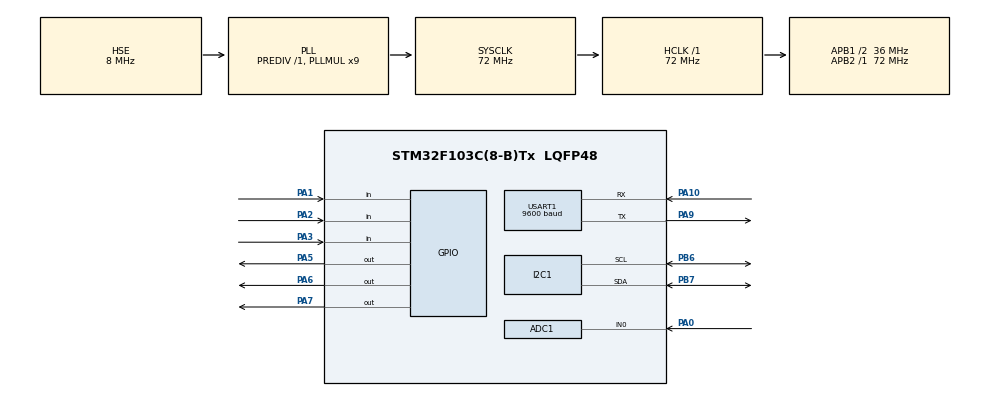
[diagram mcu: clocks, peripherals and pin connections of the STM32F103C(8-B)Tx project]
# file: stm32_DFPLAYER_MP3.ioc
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ADC1.Channel-0\#ChannelRegularConversion=ADC_CHANNEL_0
ADC1.ContinuousConvMode=ENABLE
ADC1.NbrOfConversionFlag=1
ADC1.Rank-0\#ChannelRegularConversion=1
ADC1.SamplingTime-0\#ChannelRegularConversion=ADC_SAMPLETIME_1CYCLE_5
ADC1.master=1
Mcu.Family=STM32F1
Mcu.Name=STM32F103C(8-B)Tx
Mcu.Package=LQFP48
NVIC.ADC1_2_IRQn=true\:0\:0\:false\:false\:true\:true\:true\:true
NVIC.PriorityGroup=NVIC_PRIORITYGROUP_4
PA0-WKUP.Signal=ADCx_IN0
PA1.GPIO_PuPd=GPIO_PULLDOWN
PA1.Signal=GPIO_Input
PA10.Mode=Asynchronous
PA10.Signal=USART1_RX
PA13.Mode=Serial_Wire
PA13.Signal=SYS_JTMS-SWDIO
PA14.Mode=Serial_Wire
PA14.Signal=SYS_JTCK-SWCLK
PA2.GPIO_PuPd=GPIO_PULLDOWN
PA2.Signal=GPIO_Input
PA3.GPIO_PuPd=GPIO_PULLDOWN
PA3.Signal=GPIO_Input
PA5.Signal=GPIO_Output
PA6.Signal=GPIO_Output
PA7.Signal=GPIO_Output
PA9.Mode=Asynchronous
PA9.Signal=USART1_TX
PB6.Mode=I2C
PB6.Signal=I2C1_SCL
PB7.Mode=I2C
PB7.Signal=I2C1_SDA
PD0-OSC_IN.Mode=HSE-External-Oscillator
PD0-OSC_IN.Signal=RCC_OSC_IN
PD1-OSC_OUT.Mode=HSE-External-Oscillator
PD1-OSC_OUT.Signal=RCC_OSC_OUT
ProjectManager.HeapSize=0x200
ProjectManager.StackSize=0x400
ProjectManager.TargetToolchain=MDK-ARM V5.32
RCC.ADCPresc=RCC_ADCPCLK2_DIV6
RCC.AHBFreq_Value=72000000
RCC.APB1CLKDivider=RCC_HCLK_DIV2
RCC.APB1Freq_Value=36000000
RCC.APB1TimFreq_Value=72000000
RCC.APB2Freq_Value=72000000
RCC.APB2TimFreq_Value=72000000
RCC.HCLKFreq_Value=72000000
RCC.PLLMUL=RCC_PLL_MUL9
RCC.PLLSourceVirtual=RCC_PLLSOURCE_HSE
RCC.SYSCLKFreq_VALUE=72000000
RCC.SYSCLKSource=RCC_SYSCLKSOURCE_PLLCLK
RCC.USBFreq_Value=72000000
SH.ADCx_IN0.0=ADC1_IN0,IN0
USART1.BaudRate=9600
USART1.VirtualMode=VM_ASYNC
board=custom

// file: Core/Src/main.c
/* USER CODE BEGIN Header */
/**
  ******************************************************************************
  * @file           : main.c
  * @brief          : Main program body
  ******************************************************************************
  * @attention
  *
  * Copyright (c) 2024 STMicroelectronics.
  * All rights reserved.
  *
  * This software is licensed under terms that can be found in the LICENSE file
  * in the root directory of this software component.
  * If no LICENSE file comes with this software, it is provided AS-IS.
  *
  ******************************************************************************
  */
/* USER CODE END Header */
#include "main.h"

/* USER CODE BEGIN Includes */
#include "DFPLAYER.h"
#include "CLCD_I2C.h"
#include "stdio.h"
#include "string.h"
/* USER CODE END Includes */

ADC_HandleTypeDef hadc1;

I2C_HandleTypeDef hi2c1;

UART_HandleTypeDef huart1;

void SystemClock_Config(void);
static void MX_GPIO_Init(void);
static void MX_USART1_UART_Init(void);
static void MX_ADC1_Init(void);
static void MX_I2C1_Init(void);

/* USER CODE BEGIN 0 */
DFPLAYER_Name PLAYER1;
uint8_t value = 0;
uint16_t volume;
CLCD_I2C_Name LCD1;
char str[20];
/* USER CODE END 0 */

int main(void)
{

  /* MCU Configuration--------------------------------------------------------*/

  /* Reset of all peripherals, Initializes the Flash interface and the Systick. */
  HAL_Init();

  /* Configure the system clock */
  SystemClock_Config();

  /* Initialize all configured peripherals */
  MX_GPIO_Init();
  MX_USART1_UART_Init();
  MX_ADC1_Init();
  MX_I2C1_Init();
  /* USER CODE BEGIN 2 */
	HAL_ADC_Start_IT(&hadc1);
  DFPLAYER_Init(&PLAYER1,&huart1);
	CLCD_I2C_Init(&LCD1,&hi2c1,0x4e,16,2);
  /* USER CODE END 2 */

  /* Infinite loop */
  /* USER CODE BEGIN WHILE */
  while (1)
  {
		DFPLAYER_SetVolume(&PLAYER1, volume/46);
		CLCD_I2C_SetCursor(&LCD1,0,0);
		sprintf(str,"Volume: %d",volume/46);
		CLCD_I2C_WriteString(&LCD1,str);
		if(HAL_GPIO_ReadPin(GPIOA,GPIO_PIN_1) == 1)
		{
			//HAL_GPIO_WritePin(GPIOA,GPIO_PIN_5,1);
			//HAL_Delay(500);
			//HAL_GPIO_WritePin(GPIOA,GPIO_PIN_5,0);
			DFPLAYER_Prev(&PLAYER1);
			//HAL_Delay(500);
		}

		if(HAL_GPIO_ReadPin(GPIOA,GPIO_PIN_2) == 1)
		{
			//HAL_GPIO_WritePin(GPIOA,GPIO_PIN_6,1);
			//HAL_Delay(500);
			//HAL_GPIO_WritePin(GPIOA,GPIO_PIN_6,0);
			if(value == 0)
			{
				DFPLAYER_Play(&PLAYER1);
				value = 1;
			}

			else if(value == 1)
			{
				DFPLAYER_Pause(&PLAYER1);
				value = 0;
			}

			HAL_Delay(500);
		}

		if(HAL_GPIO_ReadPin(GPIOA,GPIO_PIN_3) == 1)
		{
			//HAL_GPIO_WritePin(GPIOA,GPIO_PIN_7,1);
			//HAL_Delay(500);
			//HAL_GPIO_WritePin(GPIOA,GPIO_PIN_7,0);
			DFPLAYER_Next(&PLAYER1);
			//HAL_Delay(500);
		}

    /* USER CODE END WHILE */

  }
}

void SystemClock_Config(void)
{
  RCC_OscInitTypeDef RCC_OscInitStruct = {0};
  RCC_ClkInitTypeDef RCC_ClkInitStruct = {0};
  RCC_PeriphCLKInitTypeDef PeriphClkInit = {0};

  /** Initializes the RCC Oscillators according to the specified parameters
  * in the RCC_OscInitTypeDef structure.
  */
  RCC_OscInitStruct.OscillatorType = RCC_OSCILLATORTYPE_HSE;
  RCC_OscInitStruct.HSEState = RCC_HSE_ON;
  RCC_OscInitStruct.HSEPredivValue = RCC_HSE_PREDIV_DIV1;
  RCC_OscInitStruct.HSIState = RCC_HSI_ON;
  RCC_OscInitStruct.PLL.PLLState = RCC_PLL_ON;
  RCC_OscInitStruct.PLL.PLLSource = RCC_PLLSOURCE_HSE;
  RCC_OscInitStruct.PLL.PLLMUL = RCC_PLL_MUL9;
  if (HAL_RCC_OscConfig(&RCC_OscInitStruct) != HAL_OK)
  {
    Error_Handler();
  }

  /** Initializes the CPU, AHB and APB buses clocks
  */
  RCC_ClkInitStruct.ClockType = RCC_CLOCKTYPE_HCLK|RCC_CLOCKTYPE_SYSCLK
                              |RCC_CLOCKTYPE_PCLK1|RCC_CLOCKTYPE_PCLK2;
  RCC_ClkInitStruct.SYSCLKSource = RCC_SYSCLKSOURCE_PLLCLK;
  RCC_ClkInitStruct.AHBCLKDivider = RCC_SYSCLK_DIV1;
  RCC_ClkInitStruct.APB1CLKDivider = RCC_HCLK_DIV2;
  RCC_ClkInitStruct.APB2CLKDivider = RCC_HCLK_DIV1;

  if (HAL_RCC_ClockConfig(&RCC_ClkInitStruct, FLASH_LATENCY_2) != HAL_OK)
  {
    Error_Handler();
  }
  PeriphClkInit.PeriphClockSelection = RCC_PERIPHCLK_ADC;
  PeriphClkInit.AdcClockSelection = RCC_ADCPCLK2_DIV6;
  if (HAL_RCCEx_PeriphCLKConfig(&PeriphClkInit) != HAL_OK)
  {
    Error_Handler();
  }
}

static void MX_ADC1_Init(void)
{

  ADC_ChannelConfTypeDef sConfig = {0};

  /** Common config
  */
  hadc1.Instance = ADC1;
  hadc1.Init.ScanConvMode = ADC_SCAN_DISABLE;
  hadc1.Init.ContinuousConvMode = ENABLE;
  hadc1.Init.DiscontinuousConvMode = DISABLE;
  hadc1.Init.ExternalTrigConv = ADC_SOFTWARE_START;
  hadc1.Init.DataAlign = ADC_DATAALIGN_RIGHT;
  hadc1.Init.NbrOfConversion = 1;
  if (HAL_ADC_Init(&hadc1) != HAL_OK)
  {
    Error_Handler();
  }

  /** Configure Regular Channel
  */
  sConfig.Channel = ADC_CHANNEL_0;
  sConfig.Rank = ADC_REGULAR_RANK_1;
  sConfig.SamplingTime = ADC_SAMPLETIME_1CYCLE_5;
  if (HAL_ADC_ConfigChannel(&hadc1, &sConfig) != HAL_OK)
  {
    Error_Handler();
  }

}

static void MX_I2C1_Init(void)
{

  hi2c1.Instance = I2C1;
  hi2c1.Init.ClockSpeed = 100000;
  hi2c1.Init.DutyCycle = I2C_DUTYCYCLE_2;
  hi2c1.Init.OwnAddress1 = 0;
  hi2c1.Init.AddressingMode = I2C_ADDRESSINGMODE_7BIT;
  hi2c1.Init.DualAddressMode = I2C_DUALADDRESS_DISABLE;
  hi2c1.Init.OwnAddress2 = 0;
  hi2c1.Init.GeneralCallMode = I2C_GENERALCALL_DISABLE;
  hi2c1.Init.NoStretchMode = I2C_NOSTRETCH_DISABLE;
  if (HAL_I2C_Init(&hi2c1) != HAL_OK)
  {
    Error_Handler();
  }

}

static void MX_USART1_UART_Init(void)
{

  huart1.Instance = USART1;
  huart1.Init.BaudRate = 9600;
  huart1.Init.WordLength = UART_WORDLENGTH_8B;
  huart1.Init.StopBits = UART_STOPBITS_1;
  huart1.Init.Parity = UART_PARITY_NONE;
  huart1.Init.Mode = UART_MODE_TX_RX;
  huart1.Init.HwFlowCtl = UART_HWCONTROL_NONE;
  huart1.Init.OverSampling = UART_OVERSAMPLING_16;
  if (HAL_UART_Init(&huart1) != HAL_OK)
  {
    Error_Handler();
  }

}

static void MX_GPIO_Init(void)
{
  GPIO_InitTypeDef GPIO_InitStruct = {0};

  /* GPIO Ports Clock Enable */
  __HAL_RCC_GPIOD_CLK_ENABLE();
  __HAL_RCC_GPIOA_CLK_ENABLE();
  __HAL_RCC_GPIOB_CLK_ENABLE();

  /*Configure GPIO pin Output Level */
  HAL_GPIO_WritePin(GPIOA, GPIO_PIN_5|GPIO_PIN_6|GPIO_PIN_7, GPIO_PIN_RESET);

  /*Configure GPIO pins : PA1 PA2 PA3 */
  GPIO_InitStruct.Pin = GPIO_PIN_1|GPIO_PIN_2|GPIO_PIN_3;
  GPIO_InitStruct.Mode = GPIO_MODE_INPUT;
  GPIO_InitStruct.Pull = GPIO_PULLDOWN;
  HAL_GPIO_Init(GPIOA, &GPIO_InitStruct);

  /*Configure GPIO pins : PA5 PA6 PA7 */
  GPIO_InitStruct.Pin = GPIO_PIN_5|GPIO_PIN_6|GPIO_PIN_7;
  GPIO_InitStruct.Mode = GPIO_MODE_OUTPUT_PP;
  GPIO_InitStruct.Pull = GPIO_NOPULL;
  GPIO_InitStruct.Speed = GPIO_SPEED_FREQ_LOW;
  HAL_GPIO_Init(GPIOA, &GPIO_InitStruct);

}

/* USER CODE BEGIN 4 */
void HAL_ADC_ConvCpltCallback(ADC_HandleTypeDef* hadc)
{
	if(hadc->Instance == hadc1.Instance)
	{
		volume = HAL_ADC_GetValue(&hadc1);
	}
}
/* USER CODE END 4 */

void Error_Handler(void)
{
  __disable_irq();
  while (1)
  {
  }
}
